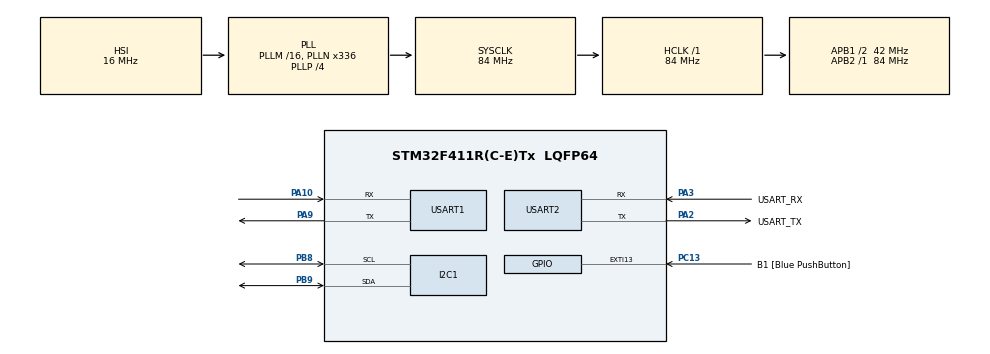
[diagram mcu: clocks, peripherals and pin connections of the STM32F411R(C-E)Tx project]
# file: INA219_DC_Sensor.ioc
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Mcu.Family=STM32F4
Mcu.Name=STM32F411R(C-E)Tx
Mcu.Package=LQFP64
NVIC.PriorityGroup=NVIC_PRIORITYGROUP_0
PA10.Mode=Asynchronous
PA10.Signal=USART1_RX
PA13.GPIO_Label=TMS
PA13.Mode=Serial_Wire
PA13.Signal=SYS_JTMS-SWDIO
PA14.GPIO_Label=TCK
PA14.Mode=Serial_Wire
PA14.Signal=SYS_JTCK-SWCLK
PA2.GPIO_Label=USART_TX
PA2.Mode=Asynchronous
PA2.Signal=USART2_TX
PA3.GPIO_Label=USART_RX
PA3.Mode=Asynchronous
PA3.Signal=USART2_RX
PA9.Mode=Asynchronous
PA9.Signal=USART1_TX
PB3.GPIO_Label=SWO
PB3.Signal=SYS_JTDO-SWO
PB8.Mode=I2C
PB8.Signal=I2C1_SCL
PB9.Mode=I2C
PB9.Signal=I2C1_SDA
PC13-ANTI_TAMP.GPIO_Label=B1 [Blue PushButton]
PC13-ANTI_TAMP.GPIO_ModeDefaultEXTI=GPIO_MODE_IT_FALLING
PC13-ANTI_TAMP.Signal=GPXTI13
PC14-OSC32_IN.Mode=LSE-External-Oscillator
PC14-OSC32_IN.Signal=RCC_OSC32_IN
PC15-OSC32_OUT.Mode=LSE-External-Oscillator
PC15-OSC32_OUT.Signal=RCC_OSC32_OUT
PH0\ -\ OSC_IN.Mode=HSE-External-Clock-Source
PH0\ -\ OSC_IN.Signal=RCC_OSC_IN
PH1\ -\ OSC_OUT.Mode=HSE-External-Clock-Source
PH1\ -\ OSC_OUT.Signal=RCC_OSC_OUT
ProjectManager.HeapSize=0x200
ProjectManager.StackSize=0x400
ProjectManager.TargetToolchain=STM32CubeIDE
RCC.48MHZClocksFreq_Value=84000000
RCC.AHBFreq_Value=84000000
RCC.APB1CLKDivider=RCC_HCLK_DIV2
RCC.APB1Freq_Value=42000000
RCC.APB1TimFreq_Value=84000000
RCC.APB2Freq_Value=84000000
RCC.APB2TimFreq_Value=84000000
RCC.CortexFreq_Value=84000000
RCC.FLatency-AdvancedSettings=FLASH_LATENCY_2
RCC.HCLKFreq_Value=84000000
RCC.HSE_VALUE=8000000
RCC.HSI_VALUE=16000000
RCC.PLLN=336
RCC.PLLP=RCC_PLLP_DIV4
RCC.SYSCLKFreq_VALUE=84000000
RCC.SYSCLKSource=RCC_SYSCLKSOURCE_PLLCLK
RCC.VCOOutputFreq_Value=336000000
USART1.VirtualMode=VM_ASYNC
USART2.VirtualMode=VM_ASYNC
board=NUCLEO-F411RE

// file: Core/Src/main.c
/* USER CODE BEGIN Header */
/**
  ******************************************************************************
  * @file           : main.c
  * @brief          : Main program body
  ******************************************************************************
  * @attention
  *
  * Copyright (c) 2026 STMicroelectronics.
  * All rights reserved.
  *
  * This software is licensed under terms that can be found in the LICENSE file
  * in the root directory of this software component.
  * If no LICENSE file comes with this software, it is provided AS-IS.
  *
  ******************************************************************************
  */
/* USER CODE END Header */
#include "main.h"

/* USER CODE BEGIN Includes */
#include <string.h>
#include <stdio.h>
#include "icm20948.h"
#include "ina219.h"
#include "espuartproto.h"
/* USER CODE END Includes */

/* USER CODE BEGIN PD */
#define INA_ADDRESS (0x40 << 1)
/* USER CODE END PD */

I2C_HandleTypeDef hi2c1;

UART_HandleTypeDef huart1;
UART_HandleTypeDef huart2;

void SystemClock_Config(void);
static void MX_GPIO_Init(void);
static void MX_USART2_UART_Init(void);
static void MX_I2C1_Init(void);
static void MX_USART1_UART_Init(void);

int main(void)
{

  /* USER CODE BEGIN 1 */
	uint8_t tty_buf[100];
	strcpy((char*)tty_buf, "Finished program");

  /* USER CODE END 1 */

  /* MCU Configuration--------------------------------------------------------*/

  /* Reset of all peripherals, Initializes the Flash interface and the Systick. */
  HAL_Init();

  /* USER CODE BEGIN Init */
  Ina219_Init();
  /* USER CODE END Init */

  /* Configure the system clock */
  SystemClock_Config();

  /* Initialize all configured peripherals */
  MX_GPIO_Init();
  MX_USART2_UART_Init();
  MX_I2C1_Init();
  MX_USART1_UART_Init();

  /* Infinite loop */
  /* USER CODE BEGIN WHILE */

  HAL_Delay(2000);

  while (1)
  {

	  /* INA219 Power data section */
	  uint8_t ina_power_buffer[4]; // Stores bus voltage and current data, in that order

	  uint16_t raw_bv = Ina219_ReadBusVoltage();
	  int16_t raw_current = Ina219_ReadCurrent_raw();

	  espuart_t espuart = {
			  .type = TYPE_POWER,
			  .len = sizeof(ina_power_buffer),
	  };

	  cast_uint16(ina_power_buffer, raw_bv);
	  cast_int16(&ina_power_buffer[2], raw_current);

	  espuart.payload = ina_power_buffer;
	  HAL_StatusTypeDef ina_tx_status = ESPUART_Transmit(&espuart);
	  if(ina_tx_status != HAL_OK) {
		  sprintf((char*)tty_buf, "Problems in UART sensor data. Status %d", ina_tx_status);
		  HAL_UART_Transmit(&huart2, tty_buf, strlen((char*)tty_buf), 500);
	  }

	  HAL_Delay(1500);
    /* USER CODE END WHILE */

    /* USER CODE BEGIN 3 */
  }
  HAL_UART_Transmit(&huart2, tty_buf, strlen((char*)tty_buf), 500);
  /* USER CODE END 3 */
}

void SystemClock_Config(void)
{
  RCC_OscInitTypeDef RCC_OscInitStruct = {0};
  RCC_ClkInitTypeDef RCC_ClkInitStruct = {0};

  /** Configure the main internal regulator output voltage
  */
  __HAL_RCC_PWR_CLK_ENABLE();
  __HAL_PWR_VOLTAGESCALING_CONFIG(PWR_REGULATOR_VOLTAGE_SCALE1);

  /** Initializes the RCC Oscillators according to the specified parameters
  * in the RCC_OscInitTypeDef structure.
  */
  RCC_OscInitStruct.OscillatorType = RCC_OSCILLATORTYPE_HSI;
  RCC_OscInitStruct.HSIState = RCC_HSI_ON;
  RCC_OscInitStruct.HSICalibrationValue = RCC_HSICALIBRATION_DEFAULT;
  RCC_OscInitStruct.PLL.PLLState = RCC_PLL_ON;
  RCC_OscInitStruct.PLL.PLLSource = RCC_PLLSOURCE_HSI;
  RCC_OscInitStruct.PLL.PLLM = 16;
  RCC_OscInitStruct.PLL.PLLN = 336;
  RCC_OscInitStruct.PLL.PLLP = RCC_PLLP_DIV4;
  RCC_OscInitStruct.PLL.PLLQ = 4;
  if (HAL_RCC_OscConfig(&RCC_OscInitStruct) != HAL_OK)
  {
    Error_Handler();
  }

  /** Initializes the CPU, AHB and APB buses clocks
  */
  RCC_ClkInitStruct.ClockType = RCC_CLOCKTYPE_HCLK|RCC_CLOCKTYPE_SYSCLK
                              |RCC_CLOCKTYPE_PCLK1|RCC_CLOCKTYPE_PCLK2;
  RCC_ClkInitStruct.SYSCLKSource = RCC_SYSCLKSOURCE_PLLCLK;
  RCC_ClkInitStruct.AHBCLKDivider = RCC_SYSCLK_DIV1;
  RCC_ClkInitStruct.APB1CLKDivider = RCC_HCLK_DIV2;
  RCC_ClkInitStruct.APB2CLKDivider = RCC_HCLK_DIV1;

  if (HAL_RCC_ClockConfig(&RCC_ClkInitStruct, FLASH_LATENCY_2) != HAL_OK)
  {
    Error_Handler();
  }
}

static void MX_I2C1_Init(void)
{

  hi2c1.Instance = I2C1;
  hi2c1.Init.ClockSpeed = 100000;
  hi2c1.Init.DutyCycle = I2C_DUTYCYCLE_2;
  hi2c1.Init.OwnAddress1 = 0;
  hi2c1.Init.AddressingMode = I2C_ADDRESSINGMODE_7BIT;
  hi2c1.Init.DualAddressMode = I2C_DUALADDRESS_DISABLE;
  hi2c1.Init.OwnAddress2 = 0;
  hi2c1.Init.GeneralCallMode = I2C_GENERALCALL_DISABLE;
  hi2c1.Init.NoStretchMode = I2C_NOSTRETCH_DISABLE;
  if (HAL_I2C_Init(&hi2c1) != HAL_OK)
  {
    Error_Handler();
  }

}

static void MX_USART1_UART_Init(void)
{

  huart1.Instance = USART1;
  huart1.Init.BaudRate = 115200;
  huart1.Init.WordLength = UART_WORDLENGTH_8B;
  huart1.Init.StopBits = UART_STOPBITS_1;
  huart1.Init.Parity = UART_PARITY_NONE;
  huart1.Init.Mode = UART_MODE_TX_RX;
  huart1.Init.HwFlowCtl = UART_HWCONTROL_NONE;
  huart1.Init.OverSampling = UART_OVERSAMPLING_16;
  if (HAL_UART_Init(&huart1) != HAL_OK)
  {
    Error_Handler();
  }

}

static void MX_USART2_UART_Init(void)
{

  huart2.Instance = USART2;
  huart2.Init.BaudRate = 115200;
  huart2.Init.WordLength = UART_WORDLENGTH_8B;
  huart2.Init.StopBits = UART_STOPBITS_1;
  huart2.Init.Parity = UART_PARITY_NONE;
  huart2.Init.Mode = UART_MODE_TX_RX;
  huart2.Init.HwFlowCtl = UART_HWCONTROL_NONE;
  huart2.Init.OverSampling = UART_OVERSAMPLING_16;
  if (HAL_UART_Init(&huart2) != HAL_OK)
  {
    Error_Handler();
  }

}

static void MX_GPIO_Init(void)
{
  GPIO_InitTypeDef GPIO_InitStruct = {0};

  /* GPIO Ports Clock Enable */
  __HAL_RCC_GPIOC_CLK_ENABLE();
  __HAL_RCC_GPIOH_CLK_ENABLE();
  __HAL_RCC_GPIOA_CLK_ENABLE();
  __HAL_RCC_GPIOB_CLK_ENABLE();

  /*Configure GPIO pin : B1_Pin */
  GPIO_InitStruct.Pin = B1_Pin;
  GPIO_InitStruct.Mode = GPIO_MODE_IT_FALLING;
  GPIO_InitStruct.Pull = GPIO_NOPULL;
  HAL_GPIO_Init(B1_GPIO_Port, &GPIO_InitStruct);

}

void Error_Handler(void)
{
  __disable_irq();
  while (1)
  {
  }
}
